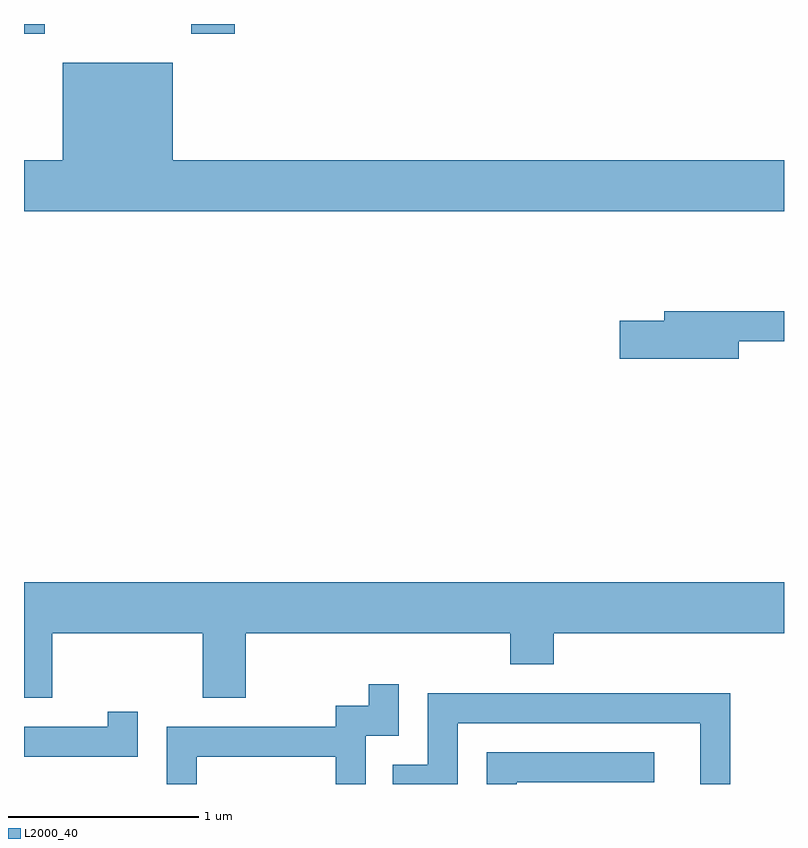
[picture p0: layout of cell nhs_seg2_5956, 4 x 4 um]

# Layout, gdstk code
import gdstk
lib = gdstk.Library(unit=1e-6, precision=1e-09)
def R(c, l, rs):  # rectangles x0, y0, x1, y1
    for r in rs: c.add(gdstk.rectangle(r[:2], r[2:], *l))
def P(c, l, *ps):  # polygons
    for p in ps: c.add(gdstk.Polygon(p, *l))
L2000_40 = (2000, 40)

nhs_seg2_5956 = lib.new_cell('nhs_seg2_5956')
R(nhs_seg2_5956, L2000_40, [(361.611,993.751,361.719,993.802), (362.491,993.751,362.719,993.802)])
P(nhs_seg2_5956, L2000_40, [(365.611,993.084),(362.394,993.084),(362.394,993.599),(361.816,993.599),(361.816,993.084),(361.611,993.084),(361.611,992.816),(365.611,992.816)],
  [(365.374,992.131),(365.611,992.131),(365.611,992.289),(364.981,992.289),(364.981,992.239),(364.746,992.239),(364.746,992.041),(365.374,992.041)],
  [(361.611,990.256),(361.759,990.256),(361.759,990.596),(362.551,990.596),(362.551,990.256),(362.779,990.256),(362.779,990.596),(364.171,990.596),(364.171,990.431),(364.399,990.431),(364.399,990.596),(365.611,990.596),(365.611,990.864),(361.611,990.864)],
  [(362.519,989.946),(363.251,989.946),(363.251,989.802),(363.409,989.802),(363.409,990.056),(363.584,990.056),(363.584,990.328),(363.426,990.328),(363.426,990.214),(363.251,990.214),(363.251,990.104),(362.361,990.104),(362.361,989.802),(362.519,989.802)],
  [(363.894,990.121),(365.171,990.121),(365.171,989.802),(365.329,989.802),(365.329,990.279),(363.736,990.279),(363.736,989.904),(363.553,989.904),(363.553,989.802),(363.894,989.802)],
  [(362.209,990.183),(362.051,990.183),(362.051,990.104),(361.611,990.104),(361.611,989.946),(362.209,989.946)],
  [(364.204,989.811),(364.928,989.811),(364.928,989.969),(364.046,989.969),(364.046,989.802),(364.204,989.802)])

lib.write_gds('nhs_seg2_5956.gds')
